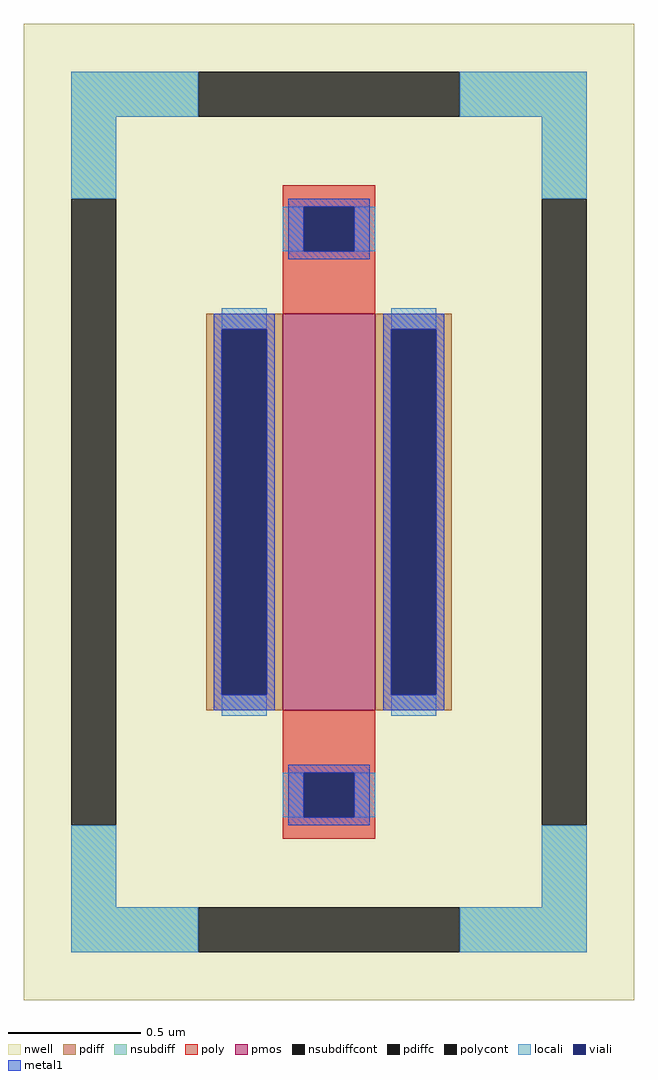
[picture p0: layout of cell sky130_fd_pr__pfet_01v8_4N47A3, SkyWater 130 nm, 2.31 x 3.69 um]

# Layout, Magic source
magic
tech sky130A
magscale 1 2
<< nwell >>
rect -231 -369 231 369
<< pmos >>
rect -35 -150 35 150
<< pdiff >>
rect -93 138 -35 150
rect -93 -138 -81 138
rect -47 -138 -35 138
rect -93 -150 -35 -138
rect 35 138 93 150
rect 35 -138 47 138
rect 81 -138 93 138
rect 35 -150 93 -138
<< pdiffc >>
rect -81 -138 -47 138
rect 47 -138 81 138
<< nsubdiff >>
rect -195 299 -99 333
rect 99 299 195 333
rect -195 237 -161 299
rect 161 237 195 299
rect -195 -299 -161 -237
rect 161 -299 195 -237
rect -195 -333 -99 -299
rect 99 -333 195 -299
<< nsubdiffcont >>
rect -99 299 99 333
rect -195 -237 -161 237
rect 161 -237 195 237
rect -99 -333 99 -299
<< poly >>
rect -35 231 35 247
rect -35 197 -19 231
rect 19 197 35 231
rect -35 150 35 197
rect -35 -197 35 -150
rect -35 -231 -19 -197
rect 19 -231 35 -197
rect -35 -247 35 -231
<< polycont >>
rect -19 197 19 231
rect -19 -231 19 -197
<< locali >>
rect -195 299 -99 333
rect 99 299 195 333
rect -195 237 -161 299
rect 161 237 195 299
rect -35 197 -19 231
rect 19 197 35 231
rect -81 138 -47 154
rect -81 -154 -47 -138
rect 47 138 81 154
rect 47 -154 81 -138
rect -35 -231 -19 -197
rect 19 -231 35 -197
rect -195 -299 -161 -237
rect 161 -299 195 -237
rect -195 -333 -99 -299
rect 99 -333 195 -299
<< viali >>
rect -19 197 19 231
rect -81 -138 -47 138
rect 47 -138 81 138
rect -19 -231 19 -197
<< metal1 >>
rect -31 231 31 237
rect -31 197 -19 231
rect 19 197 31 231
rect -31 191 31 197
rect -87 138 -41 150
rect -87 -138 -81 138
rect -47 -138 -41 138
rect -87 -150 -41 -138
rect 41 138 87 150
rect 41 -138 47 138
rect 81 -138 87 138
rect 41 -150 87 -138
rect -31 -197 31 -191
rect -31 -231 -19 -197
rect 19 -231 31 -197
rect -31 -237 31 -231
<< properties >>
string FIXED_BBOX -178 -316 178 316
string gencell sky130_fd_pr__pfet_01v8
string library sky130
string parameters w 1.5 l 0.35 m 1 nf 1 diffcov 100 polycov 100 guard 1 glc 1 grc 1 gtc 1 gbc 1 tbcov 100 rlcov 100 topc 1 botc 1 poverlap 0 doverlap 1 lmin 0.15 wmin 0.42 compatible {sky130_fd_pr__pfet_01v8  sky130_fd_pr__pfet_01v8_lvt sky130_fd_pr__pfet_01v8_hvt  sky130_fd_pr__pfet_g5v0d10v5} full_metal 1 viasrc 100 viadrn 100 viagate 100 viagb 0 viagr 0 viagl 0 viagt 0
<< end >>
